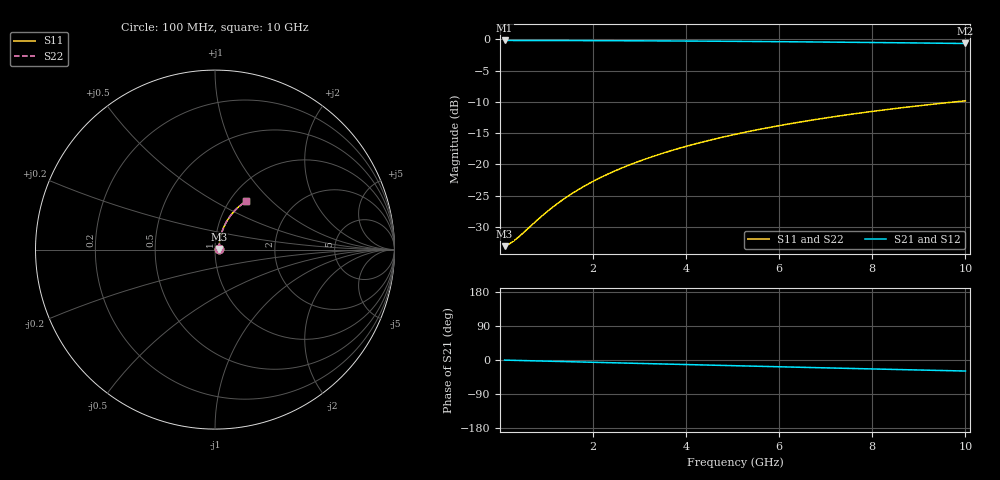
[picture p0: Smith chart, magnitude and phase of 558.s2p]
# Hz S RI R 50.00
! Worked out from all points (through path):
!   100 points, 100 MHz to 10 GHz, reference 50 ohm
!   highest |S21| = -0.19 dB at 100 MHz (marker M1); lowest = -0.7 dB at 10 GHz (marker M2)
!   group delay of S21, straight-line fit = 8.11 ps
!   lowest |S11| = -33.1 dB at 100 MHz (marker M3), VSWR 1.05, Z = 52.2 + j0.352 ohm
!   |S11| at or under -10 dB: start of sweep to 9.801 GHz
!   |S22| runs from -33.1 to -9.9 dB; largest |S21 - S12| = 0
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1e8  0.0219 0.00337  0.9781 -0.00516  0.9781 -0.00516  0.0219 0.00337
2e8  0.0221 0.00673  0.9779 -0.0103  0.9779 -0.0103  0.0221 0.00673
3e8  0.0223 0.0101  0.9777 -0.0155  0.9777 -0.0155  0.0223 0.0101
4e8  0.0225 0.0135  0.9775 -0.0206  0.9775 -0.0206  0.0225 0.0135
9e8  0.0239 0.0302  0.9759 -0.0463  0.9759 -0.0463  0.0239 0.0302
1.2e9  0.0252 0.0402  0.9746 -0.0617  0.9746 -0.0617  0.0252 0.0402
1.5e9  0.0267 0.0501  0.9729 -0.077  0.9729 -0.077  0.0267 0.0501
1.8e9  0.0285 0.06  0.9709 -0.0923  0.9709 -0.0923  0.0285 0.06
2.1e9  0.0307 0.0698  0.9686 -0.1075  0.9686 -0.1075  0.0307 0.0698
2.5e9  0.034 0.0828  0.965 -0.1276  0.965 -0.1276  0.034 0.0828
2.9e9  0.0378 0.0955  0.9608 -0.1475  0.9608 -0.1475  0.0378 0.0955
3.4e9  0.0433 0.1112  0.9548 -0.1721  0.9548 -0.1721  0.0433 0.1112
3.8e9  0.0483 0.1234  0.9493 -0.1916  0.9493 -0.1916  0.0483 0.1234
4.2e9  0.0537 0.1354  0.9433 -0.2108  0.9433 -0.2108  0.0537 0.1354
4.6e9  0.0596 0.1472  0.9368 -0.2297  0.9368 -0.2297  0.0596 0.1472
5.1e9  0.0677 0.1614  0.928 -0.2529  0.928 -0.2529  0.0677 0.1614
5.9e9  0.0819 0.1831  0.9123 -0.289  0.9123 -0.289  0.0819 0.1831
6.7e9  0.0977 0.2033  0.8949 -0.3237  0.8949 -0.3237  0.0977 0.2033
7.5e9  0.1148 0.222  0.8759 -0.3569  0.8759 -0.3569  0.1148 0.222
8.4e9  0.1355 0.2411  0.8528 -0.3923  0.8528 -0.3923  0.1355 0.2411
9.2e9  0.155 0.2563  0.8309 -0.422  0.8309 -0.422  0.155 0.2563
1e10  0.1753 0.2697  0.808 -0.45  0.808 -0.45  0.1753 0.2697
